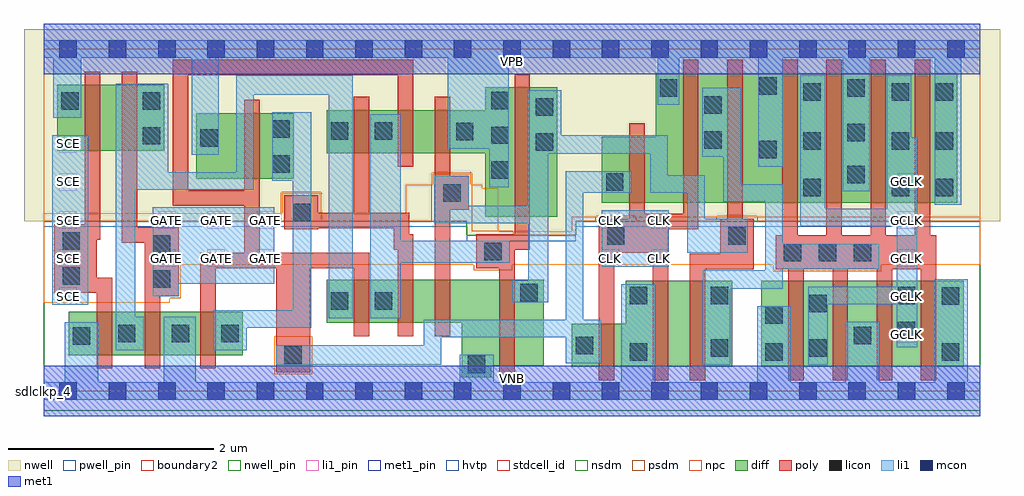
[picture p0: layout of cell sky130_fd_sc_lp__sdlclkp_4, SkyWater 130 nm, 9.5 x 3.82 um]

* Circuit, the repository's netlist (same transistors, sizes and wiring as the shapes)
* Copyright 2020 The SkyWater PDK Authors
*
* Licensed under the Apache License, Version 2.0 (the "License");
* you may not use this file except in compliance with the License.
* You may obtain a copy of the License at
*
*     https://www.apache.org/licenses/LICENSE-2.0
*
* Unless required by applicable law or agreed to in writing, software
* distributed under the License is distributed on an "AS IS" BASIS,
* WITHOUT WARRANTIES OR CONDITIONS OF ANY KIND, either express or implied.
* See the License for the specific language governing permissions and
* limitations under the License.
*
* SPDX-License-Identifier: Apache-2.0

.SUBCKT sky130_fd_sc_lp__sdlclkp_4 CLK GATE SCE VGND VNB VPB VPWR GCLK
*.PININFO CLK:I GATE:I SCE:I VGND:I VNB:I VPB:I VPWR:I GCLK:O
MI662 net88 m1 VPWR VPB sky130_fd_pr__pfet_01v8_hvt m=1 w=0.42U l=0.15U mult=1
+ sa=0.265 sb=0.265 sd=0.28 area=0.063 perim=1.14
MI664 M0 clkpos net88 VPB sky130_fd_pr__pfet_01v8_hvt m=1 w=0.42U l=0.15U mult=1
+ sa=0.265 sb=0.265 sd=0.28 area=0.063 perim=1.14
MI659 net76 CLK VPWR VPB sky130_fd_pr__pfet_01v8_hvt m=1 w=1.26U l=0.15U mult=1
+ sa=0.265 sb=0.265 sd=0.28 area=0.063 perim=1.14
MI658 net76 m1 VPWR VPB sky130_fd_pr__pfet_01v8_hvt m=1 w=1.26U l=0.15U mult=1
+ sa=0.265 sb=0.265 sd=0.28 area=0.063 perim=1.14
MI19 m1 M0 VPWR VPB sky130_fd_pr__pfet_01v8_hvt m=1 w=1.26U l=0.15U mult=1 sa=0.265
+ sb=0.265 sd=0.28 area=0.063 perim=1.14
MI22 net63 SCE VPWR VPB sky130_fd_pr__pfet_01v8_hvt m=1 w=0.64U l=0.15U mult=1
+ sa=0.265 sb=0.265 sd=0.28 area=0.063 perim=1.14
MI21 net116 GATE net63 VPB sky130_fd_pr__pfet_01v8_hvt m=1 w=0.64U l=0.15U mult=1
+ sa=0.265 sb=0.265 sd=0.28 area=0.063 perim=1.14
MI47 clkneg clkpos VPWR VPB sky130_fd_pr__pfet_01v8_hvt m=1 w=0.64U l=0.15U mult=1
+ sa=0.265 sb=0.265 sd=0.28 area=0.063 perim=1.14
MI45 clkpos CLK VPWR VPB sky130_fd_pr__pfet_01v8_hvt m=1 w=0.64U l=0.15U mult=1
+ sa=0.265 sb=0.265 sd=0.28 area=0.063 perim=1.14
MI660 GCLK net76 VPWR VPB sky130_fd_pr__pfet_01v8_hvt m=4 w=1.26U l=0.15U mult=1
+ sa=0.265 sb=0.265 sd=0.28 area=0.063 perim=1.14
MI43 net116 clkneg M0 VPB sky130_fd_pr__pfet_01v8_hvt m=1 w=0.42U l=0.15U mult=1
+ sa=0.265 sb=0.265 sd=0.28 area=0.063 perim=1.14
MI42 net116 clkpos M0 VNB sky130_fd_pr__nfet_01v8 m=1 w=0.42U l=0.15U mult=1 sa=0.265
+ sb=0.265 sd=0.28 area=0.063 perim=1.14
MI20 m1 M0 VGND VNB sky130_fd_pr__nfet_01v8 m=1 w=0.84U l=0.15U mult=1 sa=0.265
+ sb=0.265 sd=0.28 area=0.063 perim=1.14
MI655 M0 clkneg net123 VNB sky130_fd_pr__nfet_01v8 m=1 w=0.42U l=0.15U mult=1 sa=0.265
+ sb=0.265 sd=0.28 area=0.063 perim=1.14
MI654 net123 m1 VGND VNB sky130_fd_pr__nfet_01v8 m=1 w=0.42U l=0.15U mult=1 sa=0.265
+ sb=0.265 sd=0.28 area=0.063 perim=1.14
MI24 net116 SCE VGND VNB sky130_fd_pr__nfet_01v8 m=1 w=0.42U l=0.15U mult=1 sa=0.265
+ sb=0.265 sd=0.28 area=0.063 perim=1.14
MI657 net112 CLK VGND VNB sky130_fd_pr__nfet_01v8 m=1 w=0.84U l=0.15U mult=1 sa=0.265
+ sb=0.265 sd=0.28 area=0.063 perim=1.14
MI656 net76 m1 net112 VNB sky130_fd_pr__nfet_01v8 m=1 w=0.84U l=0.15U mult=1 sa=0.265
+ sb=0.265 sd=0.28 area=0.063 perim=1.14
MI23 net116 GATE VGND VNB sky130_fd_pr__nfet_01v8 m=1 w=0.42U l=0.15U mult=1 sa=0.265
+ sb=0.265 sd=0.28 area=0.063 perim=1.14
MI46 clkneg clkpos VGND VNB sky130_fd_pr__nfet_01v8 m=1 w=0.42U l=0.15U mult=1
+ sa=0.265 sb=0.265 sd=0.28 area=0.063 perim=1.14
MI44 clkpos CLK VGND VNB sky130_fd_pr__nfet_01v8 m=1 w=0.42U l=0.15U mult=1 sa=0.265
+ sb=0.265 sd=0.28 area=0.063 perim=1.14
MI653 GCLK net76 VGND VNB sky130_fd_pr__nfet_01v8 m=4 w=0.84U l=0.15U mult=1 sa=0.265
+ sb=0.265 sd=0.28 area=0.063 perim=1.14
.ENDS sky130_fd_sc_lp__sdlclkp_4

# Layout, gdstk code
import gdstk
lib = gdstk.Library(unit=1e-6, precision=1e-09)
def R(c, l, rs):  # rectangles x0, y0, x1, y1
    for r in rs: c.add(gdstk.rectangle(r[:2], r[2:], *l))
def A(c, l, x, y, w, h, nx, ny, dx, dy):  # array of equal rectangles
    R(c, l, [(x+i*dx, y+j*dy, x+i*dx+w, y+j*dy+h) for i in range(nx) for j in range(ny)])
def P(c, l, *ps):  # polygons
    for p in ps: c.add(gdstk.Polygon(p, *l))
nwell_pin = (64, 16)
nwell = (64, 20)
diff = (65, 20)
poly = (66, 20)
licon = (66, 44)
li1_pin = (67, 16)
li1 = (67, 20)
mcon = (67, 44)
met1_pin = (68, 16)
met1 = (68, 20)
hvtp = (78, 44)
stdcell_id = (81, 4)
nsdm = (93, 44)
psdm = (94, 20)
npc = (95, 20)
pwell_pin = (122, 16)
boundary2 = (236, 0)

sky130_fd_sc_lp__sdlclkp = lib.new_cell('sky130_fd_sc_lp__sdlclkp_4')
R(sky130_fd_sc_lp__sdlclkp, nwell_pin, [(0,3.085,9.12,3.33)])
P(sky130_fd_sc_lp__sdlclkp, nwell, [(9.31,3.52),(-0.19,3.52),(-0.19,1.655),(4.12,1.655),(4.12,1.515),(5.18,1.515),(5.18,1.655),(9.31,1.655)])
R(sky130_fd_sc_lp__sdlclkp, diff, [(6.985,0.235,8.955,1.075), (0.245,0.35,1.94,0.77), (1.485,2.065,2.435,2.705), (0.135,2.34,1.175,2.98)])
P(sky130_fd_sc_lp__sdlclkp, diff, [(4.87,1.085),(2.755,1.085),(2.755,0.665),(4.07,0.665),(4.07,0.135),(4.36,0.135),(4.36,0.245),(4.87,0.245)],
  [(5,2.955),(4.3,2.955),(4.3,2.735),(2.755,2.735),(2.755,2.315),(4.3,2.315),(4.3,1.695),(5,1.695)],
  [(6.705,1.075),(5.665,1.075),(5.665,0.655),(5.14,0.655),(5.14,0.235),(6.705,0.235)],
  [(8.895,3.095),(5.96,3.095),(5.96,2.475),(5.435,2.475),(5.435,1.835),(8.895,1.835)])
P(sky130_fd_sc_lp__sdlclkp, poly, [(0.67,1.105),(0.52,1.105),(0.52,1.475),(0.55,1.475),(0.55,3.11),(0.4,3.11),(0.4,1.625),(0.105,1.625),(0.105,0.955),(0.52,0.955),(0.52,0.22),(0.67,0.22)],
  [(1.315,1.595),(0.91,1.595),(0.91,3.11),(0.76,3.11),(0.76,1.445),(0.985,1.445),(0.985,0.22),(1.135,0.22),(1.135,0.925),(1.315,0.925)],
  [(3.6,3.225),(1.26,3.225),(1.26,1.805),(1.955,1.805),(1.955,1.345),(1.525,1.345),(1.525,0.22),(1.675,0.22),(1.675,1.195),(2.265,1.195),(2.265,0.185),(2.595,0.185),(2.595,1.195),(3.02,1.195),(3.02,0.535),(3.17,0.535),(3.17,1.345),(2.105,1.345),(2.105,2.835),(1.955,2.835),(1.955,1.955),(1.41,1.955),(1.41,3.075),(3.45,3.075),(3.45,2.185),(3.6,2.185)],
  [(3.6,1.525),(3.56,1.525),(3.56,1.735),(3.17,1.735),(3.17,2.865),(3.02,2.865),(3.02,1.735),(2.675,1.735),(2.675,1.905),(2.345,1.905),(2.345,1.575),(2.675,1.575),(2.675,1.585),(3.41,1.585),(3.41,1.375),(3.45,1.375),(3.45,0.535),(3.6,0.535)],
  [(4.14,2.095),(3.96,2.095),(3.96,2.865),(3.81,2.865),(3.81,0.535),(3.96,0.535),(3.96,1.765),(4.14,1.765)],
  [(4.735,3.085),(4.585,3.085),(4.585,1.525),(4.21,1.525),(4.21,1.195),(4.435,1.195),(4.435,0.115),(4.585,0.115),(4.585,1.375),(4.735,1.375)],
  [(6.375,3.225),(6.225,3.225),(6.225,1.725),(5.85,1.725),(5.85,2.605),(5.7,2.605),(5.7,1.675),(5.405,1.675),(5.405,0.105),(5.555,0.105),(5.555,1.345),(5.93,1.345),(5.93,0.105),(6.08,0.105),(6.08,1.575),(6.375,1.575)],
  [(6.915,1.675),(6.805,1.675),(6.805,3.225),(6.655,3.225),(6.655,1.675),(6.585,1.675),(6.585,1.335),(6.29,1.335),(6.29,0.105),(6.44,0.105),(6.44,1.185),(6.915,1.185)],
  [(8.69,1.515),(8.63,1.515),(8.63,3.225),(8.48,3.225),(8.48,1.515),(8.2,1.515),(8.2,3.225),(8.05,3.225),(8.05,1.515),(7.77,1.515),(7.77,3.225),(7.62,3.225),(7.62,1.515),(7.34,1.515),(7.34,3.225),(7.19,3.225),(7.19,1.515),(7.125,1.515),(7.125,1.185),(7.25,1.185),(7.25,0.105),(7.4,0.105),(7.4,1.185),(7.68,1.185),(7.68,0.105),(7.83,0.105),(7.83,1.185),(8.11,1.185),(8.11,0.105),(8.26,0.105),(8.26,1.185),(8.54,1.185),(8.54,0.105),(8.69,0.105)])
A(sky130_fd_sc_lp__sdlclkp, licon, 7.205, 1.265, 0.17, 0.17, 3, 1, 0.34, 0)
A(sky130_fd_sc_lp__sdlclkp, licon, 4.36, 2.065, 0.17, 0.17, 1, 3, 0, 0.34)
R(sky130_fd_sc_lp__sdlclkp, licon, [(4.13,0.175,4.3,0.345), (2.345,0.265,2.515,0.435), (5.705,0.295,5.875,0.465), (7.025,0.295,7.195,0.465), (8.745,0.295,8.915,0.465), (6.495,0.335,6.665,0.505), (7.455,0.335,7.625,0.505), (5.18,0.36,5.35,0.53), (0.285,0.45,0.455,0.62), (7.885,0.455,8.055,0.625), (0.725,0.475,0.895,0.645), (1.25,0.475,1.42,0.645), (1.73,0.475,1.9,0.645), (8.315,0.505,8.485,0.675), (7.025,0.655,7.195,0.825), (7.455,0.765,7.625,0.935), (2.795,0.79,2.965,0.96), (3.225,0.79,3.395,0.96), (8.745,0.84,8.915,1.01), (5.705,0.845,5.875,1.015), (6.495,0.845,6.665,1.015), (8.315,0.845,8.485,1.015), (4.64,0.875,4.81,1.045), (1.065,1.005,1.235,1.175), (0.185,1.035,0.355,1.205), (4.29,1.275,4.46,1.445), (1.065,1.345,1.235,1.515), (0.185,1.375,0.355,1.545), (5.485,1.425,5.655,1.595), (6.665,1.425,6.835,1.595), (2.425,1.655,2.595,1.825), (3.89,1.845,4.06,2.015), (7.395,1.895,7.565,2.065), (8.255,1.895,8.425,2.065), (8.685,1.895,8.855,2.065), (5.475,1.95,5.645,2.12), (7.825,2.025,7.995,2.195), (2.225,2.125,2.395,2.295), (6.965,2.265,7.135,2.435), (4.79,2.34,4.96,2.51), (7.395,2.35,7.565,2.52), (8.255,2.35,8.425,2.52), (8.685,2.35,8.855,2.52), (6.43,2.36,6.6,2.53), (1.525,2.38,1.695,2.55), (0.965,2.4,1.135,2.57), (7.825,2.43,7.995,2.6), (4.015,2.44,4.185,2.61), (2.795,2.445,2.965,2.615), (3.225,2.445,3.395,2.615), (2.225,2.465,2.395,2.635), (4.79,2.68,4.96,2.85), (6.43,2.7,6.6,2.87), (0.175,2.74,0.345,2.91), (0.965,2.74,1.135,2.91), (7.395,2.825,7.565,2.995), (8.255,2.825,8.425,2.995), (8.685,2.825,8.855,2.995), (6,2.865,6.17,3.035), (7.825,2.865,7.995,3.035), (6.965,2.885,7.135,3.055)])
A(sky130_fd_sc_lp__sdlclkp, li1_pin, 8.315, 0.47, 0.17, 0.17, 1, 5, 0, 0.37)
A(sky130_fd_sc_lp__sdlclkp, li1_pin, 0.155, 0.84, 0.17, 0.17, 1, 5, 0, 0.37)
A(sky130_fd_sc_lp__sdlclkp, li1_pin, 1.115, 1.21, 0.17, 0.17, 3, 2, 0.48, 0.37)
R(sky130_fd_sc_lp__sdlclkp, li1_pin, [(5.435,1.21,5.605,1.38), (5.915,1.21,6.085,1.38), (5.435,1.58,5.605,1.75), (5.915,1.58,6.085,1.75)])
R(sky130_fd_sc_lp__sdlclkp, li1, [(0.085,0.84,0.435,2.49), (5.435,1.21,6.085,1.76)])
P(sky130_fd_sc_lp__sdlclkp, li1, [(2.245,1.79),(1.065,1.79),(1.065,0.925),(1.315,0.925),(1.315,1.045),(2.245,1.045)],
  [(2.605,2.715),(2.225,2.715),(2.225,2.045),(2.425,2.045),(2.425,0.785),(1.65,0.785),(1.65,0.395),(1.98,0.395),(1.98,0.615),(2.605,0.615)],
  [(3.01,3.075),(1.875,3.075),(1.875,2.13),(1.215,2.13),(1.215,2.99),(0.705,2.99),(0.705,0.395),(0.975,0.395),(0.975,0.725),(0.895,0.725),(0.895,1.96),(2.045,1.96),(2.045,2.885),(2.775,2.885),(2.775,0.71),(3.01,0.71)],
  [(4.54,1.465),(3.475,1.465),(3.475,2.695),(3.18,2.695),(3.18,0.71),(3.475,0.71),(3.475,1.25),(4.54,1.25)],
  [(5.725,2.14),(5.085,2.14),(5.085,0.695),(3.7,0.695),(3.7,0.445),(2.265,0.445),(2.265,0.255),(3.87,0.255),(3.87,0.525),(5.085,0.525),(5.085,0.27),(5.43,0.27),(5.43,0.695),(5.255,0.695),(5.255,1.93),(5.725,1.93)],
  [(8.505,2.47),(8.445,2.47),(8.445,3.075),(8.21,3.075),(8.21,1.775),(7.61,1.775),(7.61,3.075),(7.365,3.075),(7.365,1.605),(8.305,1.605),(8.305,1.015),(7.445,1.015),(7.445,0.255),(7.635,0.255),(7.635,0.845),(8.305,0.845),(8.305,0.425),(8.505,0.425)],
  [(6.855,1.675),(6.435,1.675),(6.435,2.1),(6.075,2.1),(6.075,2.49),(5.04,2.49),(5.04,2.93),(4.71,2.93),(4.71,1.805),(4.14,1.805),(4.14,2.095),(3.805,2.095),(3.805,1.635),(4.72,1.635),(4.72,1.08),(4.56,1.08),(4.56,0.865),(4.915,0.865),(4.915,2.31),(5.905,2.31),(5.905,1.93),(6.265,1.93),(6.265,1.345),(6.855,1.345)],
  [(8.135,1.435),(7.195,1.435),(7.195,2.015),(6.785,2.015),(6.785,2.95),(6.41,2.95),(6.41,2.28),(6.615,2.28),(6.615,1.845),(7.025,1.845),(7.025,1.175),(6.415,1.175),(6.415,0.255),(6.685,0.255),(6.685,0.995),(7.195,0.995),(7.195,1.185),(8.135,1.185)],
  [(9.12,0.085),(8.995,0.085),(8.995,1.09),(8.675,1.09),(8.675,0.085),(8.135,0.085),(8.135,0.675),(7.805,0.675),(7.805,0.085),(7.275,0.085),(7.275,0.825),(6.945,0.825),(6.945,0.085),(5.955,0.085),(5.955,1.04),(5.625,1.04),(5.625,0.085),(4.38,0.085),(4.38,0.355),(4.05,0.355),(4.05,0.085),(1.48,0.085),(1.48,0.725),(1.17,0.725),(1.17,0.085),(0.535,0.085),(0.535,0.67),(0.205,0.67),(0.205,0.085),(0,0.085),(0,-0.085),(9.12,-0.085)],
  [(9.12,3.415),(0,3.415),(0,3.245),(0.095,3.245),(0.095,2.66),(0.365,2.66),(0.365,3.245),(1.445,3.245),(1.445,2.3),(1.705,2.3),(1.705,3.245),(3.935,3.245),(3.935,2.36),(4.34,2.36),(4.34,1.985),(4.53,1.985),(4.53,3.245),(5.98,3.245),(5.98,2.785),(6.19,2.785),(6.19,3.245),(6.955,3.245),(6.955,2.185),(7.195,2.185),(7.195,3.245),(7.78,3.245),(7.78,1.945),(8.04,1.945),(8.04,3.245),(8.675,3.245),(8.675,1.815),(8.935,1.815),(8.935,3.245),(9.12,3.245)])
A(sky130_fd_sc_lp__sdlclkp, mcon, 0.155, -0.085, 0.17, 0.17, 19, 2, 0.48, 3.33)
R(sky130_fd_sc_lp__sdlclkp, met1_pin, [(0,0,9.12,0.245), (0,3.085,9.12,3.33)])
R(sky130_fd_sc_lp__sdlclkp, met1, [(0,-0.245,9.12,0.245), (0,3.085,9.12,3.575)])
P(sky130_fd_sc_lp__sdlclkp, hvtp, [(9.12,3.33),(0,3.33),(0,1.6),(4.12,1.6),(4.12,1.46),(5.18,1.46),(5.18,1.6),(9.12,1.6)])
R(sky130_fd_sc_lp__sdlclkp, stdcell_id, [(0,0,9.12,3.33)])
P(sky130_fd_sc_lp__sdlclkp, nsdm, [(9.12,1.655),(5.18,1.655),(5.18,1.515),(4.12,1.515),(4.12,1.655),(0,1.655),(0,-0.19),(9.12,-0.19)])
P(sky130_fd_sc_lp__sdlclkp, psdm, [(9.12,3.52),(0,3.52),(0,1.655),(2.315,1.655),(2.315,1.935),(2.705,1.935),(2.705,1.655),(3.78,1.655),(3.78,2.125),(4.17,2.125),(4.17,1.555),(4.57,1.555),(4.57,1.515),(5.18,1.515),(5.18,1.655),(5.375,1.655),(5.375,1.705),(5.765,1.705),(5.765,1.655),(6.555,1.655),(6.555,1.705),(6.945,1.705),(6.945,1.655),(9.12,1.655)])
R(sky130_fd_sc_lp__sdlclkp, npc, [(2.245,0.165,2.615,0.535)])
P(sky130_fd_sc_lp__sdlclkp, npc, [(9.12,1.695),(5.14,1.695),(5.14,1.555),(4.425,1.555),(4.425,1.975),(4.27,1.975),(4.27,2.01),(4.16,2.01),(4.16,2.115),(3.79,2.115),(3.79,2.01),(3.525,2.01),(3.525,1.73),(2.695,1.73),(2.695,1.925),(2.325,1.925),(2.325,1.73),(0,1.73),(0,0.86),(1.23,0.86),(1.23,0.905),(1.335,0.905),(1.335,1.23),(4.19,1.23),(4.19,1.175),(4.56,1.175),(4.56,1.23),(7.105,1.23),(7.105,1.165),(8.155,1.165),(8.155,1.23),(9.12,1.23)])
R(sky130_fd_sc_lp__sdlclkp, pwell_pin, [(0,0,9.12,0.245)])
R(sky130_fd_sc_lp__sdlclkp, boundary2, [(0,0,9.12,3.33)])
sky130_fd_sc_lp__sdlclkp.add(gdstk.Label('VNB', (4.56,0.123), layer=64, texttype=59))
sky130_fd_sc_lp__sdlclkp.add(gdstk.Label('VPB', (4.56,3.208), layer=64, texttype=5))
sky130_fd_sc_lp__sdlclkp.add(gdstk.Label('sdlclkp_4', (0,0), layer=83, texttype=44))
sky130_fd_sc_lp__sdlclkp.add(gdstk.Label('VPWR', (4.56,3.208), layer=68, texttype=5))
sky130_fd_sc_lp__sdlclkp.add(gdstk.Label('VGND', (4.56,0.123), layer=68, texttype=5))
sky130_fd_sc_lp__sdlclkp.add(gdstk.Label('GCLK', (8.4,0.555), layer=67, texttype=5))
sky130_fd_sc_lp__sdlclkp.add(gdstk.Label('GCLK', (8.4,0.925), layer=67, texttype=5))
sky130_fd_sc_lp__sdlclkp.add(gdstk.Label('GCLK', (8.4,1.295), layer=67, texttype=5))
sky130_fd_sc_lp__sdlclkp.add(gdstk.Label('GCLK', (8.4,1.665), layer=67, texttype=5))
sky130_fd_sc_lp__sdlclkp.add(gdstk.Label('GCLK', (8.4,2.035), layer=67, texttype=5))
sky130_fd_sc_lp__sdlclkp.add(gdstk.Label('CLK', (5.52,1.295), layer=67, texttype=5))
sky130_fd_sc_lp__sdlclkp.add(gdstk.Label('CLK', (5.52,1.665), layer=67, texttype=5))
sky130_fd_sc_lp__sdlclkp.add(gdstk.Label('CLK', (6,1.295), layer=67, texttype=5))
sky130_fd_sc_lp__sdlclkp.add(gdstk.Label('CLK', (6,1.665), layer=67, texttype=5))
sky130_fd_sc_lp__sdlclkp.add(gdstk.Label('GATE', (1.2,1.295), layer=67, texttype=5))
sky130_fd_sc_lp__sdlclkp.add(gdstk.Label('GATE', (1.2,1.665), layer=67, texttype=5))
sky130_fd_sc_lp__sdlclkp.add(gdstk.Label('GATE', (1.68,1.295), layer=67, texttype=5))
sky130_fd_sc_lp__sdlclkp.add(gdstk.Label('GATE', (1.68,1.665), layer=67, texttype=5))
sky130_fd_sc_lp__sdlclkp.add(gdstk.Label('GATE', (2.16,1.295), layer=67, texttype=5))
sky130_fd_sc_lp__sdlclkp.add(gdstk.Label('GATE', (2.16,1.665), layer=67, texttype=5))
sky130_fd_sc_lp__sdlclkp.add(gdstk.Label('SCE', (0.24,0.925), layer=67, texttype=5))
sky130_fd_sc_lp__sdlclkp.add(gdstk.Label('SCE', (0.24,1.295), layer=67, texttype=5))
sky130_fd_sc_lp__sdlclkp.add(gdstk.Label('SCE', (0.24,1.665), layer=67, texttype=5))
sky130_fd_sc_lp__sdlclkp.add(gdstk.Label('SCE', (0.24,2.035), layer=67, texttype=5))
sky130_fd_sc_lp__sdlclkp.add(gdstk.Label('SCE', (0.24,2.405), layer=67, texttype=5))

lib.write_gds('sky130_fd_sc_lp__sdlclkp_4.gds')
